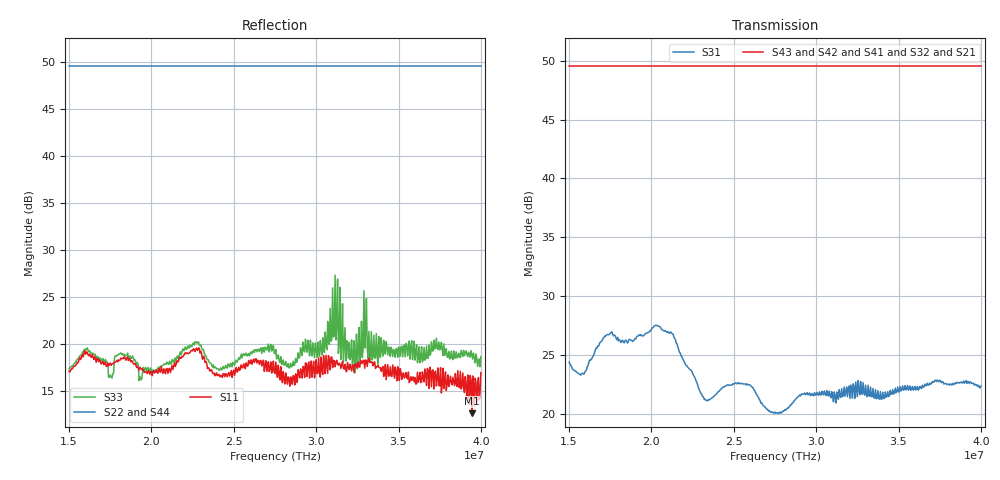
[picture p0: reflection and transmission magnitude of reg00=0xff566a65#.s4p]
#6203916!Ceyear Technologies,3672E,ZKJ00317,2.1.6
!Calibration ON : 4P/1,2,3,4
!Balanced Topology: BBAL
!Sweep Type: lin Frequency Sweep
!S4P File: Measurements: <Sdd11, Sdc11, Sdd12, Sdc12>,
!<Scd11, Scc11, Scd12, Scc12>,
!<Sdd21, Sdc21, Sdd22, Sdc22>,
!<Scd21, Scc21, Scd22, Scc22>:
!Friday, March 01, 2024  15 : 07
! # Hz  S  dB  R 50.000
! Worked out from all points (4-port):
!   501 points, 1.5e+07 THz to 4e+07 THz, reference 50 ohm
!   strongest paths, dB at 1.5e+07 THz, 2.125e+07 THz, 2.75e+07 THz, 3.375e+07 THz, 4e+07 THz:
!     S43: 49.5, 49.5, 49.5, 49.5, 49.5
!     S42: 49.5, 49.5, 49.5, 49.5, 49.5
!     S41: 49.5, 49.5, 49.5, 49.5, 49.5
!     S32: 49.5, 49.5, 49.5, 49.5, 49.5
!     S21: 49.5, 49.5, 49.5, 49.5, 49.5
!     S31: 24.4, 26.8, 20.2, 22.0, 22.4
!   lowest |S11| = 12.6 dB at 3.945e+07 THz (marker M1)
!   |S11| at or under -10 dB: nowhere
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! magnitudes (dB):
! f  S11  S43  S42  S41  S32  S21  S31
! 1.5e+07 THz  17.1  49.5  49.5  49.5  49.5  49.5  24.4
! 2.025e+07 THz  17.0  49.5  49.5  49.5  49.5  49.5  27.5
! 2.845e+07 THz  16.5  49.5  49.5  49.5  49.5  49.5  20.7
! 3.12e+07 THz  18.1  49.5  49.5  49.5  49.5  49.5  20.9
! 3.23e+07 THz  16.9  49.5  49.5  49.5  49.5  49.5  22.2
! 3.945e+07 THz  12.6  49.5  49.5  49.5  49.5  49.5  22.6
! 4e+07 THz  16.9  49.5  49.5  49.5  49.5  49.5  22.4
